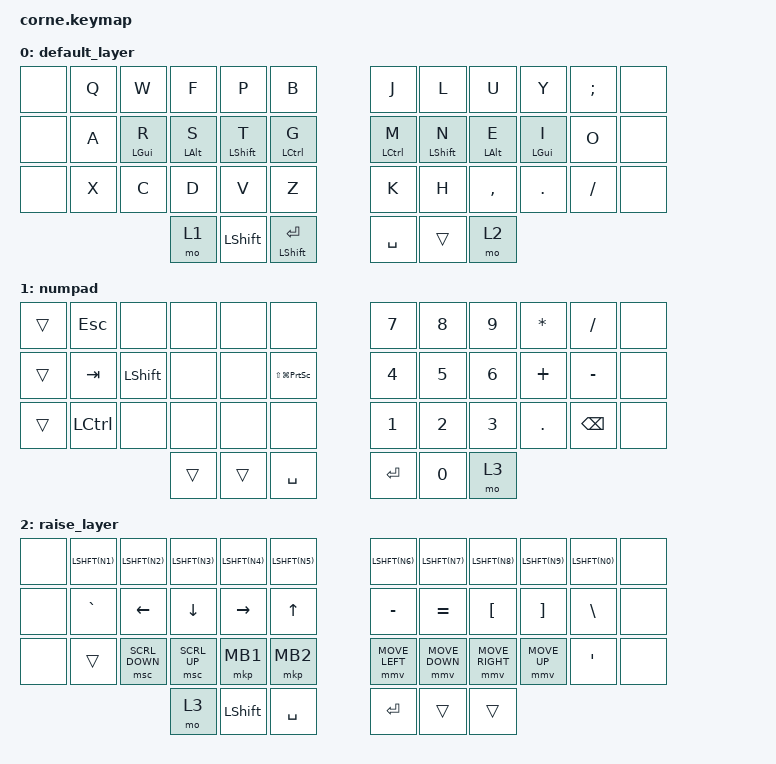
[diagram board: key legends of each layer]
/*
 * Copyright (c) 2020 The ZMK Contributors
 *
 * SPDX-License-Identifier: MIT
 */

#include <behaviors.dtsi>
#include <dt-bindings/zmk/keys.h>
#include <dt-bindings/zmk/bt.h>

//&mt {
//  tapping-term-ms = <250>; //default is 200ms
//};


/ {
        keymap {
                compatible = "zmk,keymap";

                default_layer {
// -----------------------------------------------------------------------------------------
// |  |  Q  |  W       |  F  |        P  |        B  |                   |  J  |        L   |        U  |      Y  |     ;  |  |
// |  |  A  |  R(gui)  |  S(alt)  |  T(shift)  |  G(ctrl)  |         |  M(ctrl)  |  N(shift)   |  E(alt)  |  I(gui)  |  O  |  |
// |  |  X  |  C  |       D  |       V  |         Z  |                  |  K  |         H   |       ,  |        .  |    /  |  |
//                      | numpad | shift | enter(shift) |               | spacebar |         | raise |
                        bindings = <
   &none   &kp Q &kp W      &kp F      &kp P       &kp B                      &kp J       &kp L        &kp U          &kp Y        &kp SEMI    &none
   &none   &kp A &mt LGUI R &mt LALT S &mt LSHFT T &mt LCTRL G                &mt LCTRL M &mt LSHFT N  &mt LALT E     &mt LGUI I   &kp O       &none 
   &none   &kp X &kp C      &kp D      &kp V       &kp Z                      &kp K       &kp H        &kp COMMA      &kp DOT      &kp FSLH    &none 
                                 &mo 1 &kp LSHFT &mt LSHFT RET                 &kp SPACE &trans &mo 2 
                        >;
                };
                numpad {
// -----------------------------------------------------------------------------------------
// | |  esc  |      |    |    |    |         |  7  |  8  |  9  |  * |  /   | |
// | | tab | lshift |   |   | scrnshot |     |  4  |  5  |  6  |  + |  -   | |
// | | Lctrl |      |   |   |   |   |        |  1  |  2  |  3  |  . | bksp | |
//                  | trans |     | SPC |    | ENT |  0  | lyr3 |
                        bindings = <
   &trans    &kp ESC     &none       &none  &none  &none                        &kp N7   &kp N8   &kp N9    &kp ASTRK   &kp FSLH &none
   &trans    &kp TAB     &kp LSHFT   &none  &none  &kp LS(LG(PSCRN))       &kp N4   &kp N5   &kp N6    &kp PLUS   &kp MINUS   &none 
   &trans    &kp LCTRL   &none       &none  &none  &none                        &kp N1   &kp N2   &kp N3    &kp DOT    &kp BKSP &none 
                                    &trans     &trans    &kp SPACE              &kp RET  &kp N0   &mo 3
                        >;
                };

                raise_layer {
// -----------------------------------------------------------------------------------------
// |  TAB |  !  |  @  |  #  |  $  |  %  |   |  ^  |  &  |  *  |  (  |  )  | BSPC |
// | CTRL |     |     |     |     |     |   |  -  |  =  |  [  |  ]  |  \  |  `   |
// | SHFT |     |     |     |     |     |   |  _  |  +  |  {  |  }  | "|" |  ~   |
//                    | GUI |     | SPC |   | ENT |     | ALT |
                        bindings = <
   &none &kp  LSHFT(N1)  &kp LSHFT(N2)    &kp LSHFT(N3) &kp LSHFT(N4) &kp LSHFT(N5)          &kp LSHFT(N6)   &kp LSHFT(N7)  &kp LSHFT(N8)   &kp LSHFT(N9) &kp LSHFT(N0) &none
   &none &kp GRAVE       &kp LEFT         &kp DOWN      &kp RIGHT     &kp UP                 &kp MINUS       &kp EQUAL      &kp LBKT        &kp RBKT      &kp BSLH      &none
   &none &trans          &msc SCRL_DOWN   &msc SCRL_UP  &mkp MB1      &mkp MB2               &mmv MOVE_LEFT  &mmv MOVE_DOWN &mmv MOVE_RIGHT &mmv MOVE_UP  &kp APOS      &none
                                          &mo 3         &kp LSHFT     &kp SPACE              &kp RET   &trans    &trans 
                        >;
                };
        };
};
